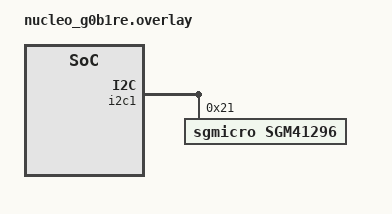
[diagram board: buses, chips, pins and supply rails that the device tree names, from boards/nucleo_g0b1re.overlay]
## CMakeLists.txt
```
#-------------------------------------------------------------------------------
# Zephyr Example Application
#
# Copyright (c) 2021 Nordic Semiconductor ASA
# SPDX-License-Identifier: Apache-2.0

cmake_minimum_required(VERSION 3.13.1)
find_package(Zephyr REQUIRED HINTS $ENV{ZEPHYR_BASE})

project(app1 LANGUAGES C)

target_sources(app PRIVATE src/main.c)
```

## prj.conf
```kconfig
CONFIG_SHELL=y
CONFIG_LOG=y
CONFIG_I2C=y
CONFIG_I2C_SHELL=y
```

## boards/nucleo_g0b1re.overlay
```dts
/* Change `ostentus-i2c` to match your device's bus (example: `&i2c2`) */

&i2c1 {
    /* Needed for I2C writes used by libostentus */

    sgm41296@21 {
        status = "okay";
        compatible = "sgmicro,sgm41296";
        reg = <0x21>;   
    };
};
```

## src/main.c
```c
    /*
 * Copyright (c) 2022-2023 Golioth, Inc.
 *
 * SPDX-License-Identifier: Apache-2.0
 */

#include <zephyr/logging/log.h>
LOG_MODULE_REGISTER(sgmicro_rd_template, LOG_LEVEL_DBG);

#include <app/drivers/libsgm41296.h>
#include <app/drivers/libsgm41296_regmap.h>

#include <zephyr/sys/printk.h>
#include <zephyr/kernel.h>

static const struct device *dev = DEVICE_DT_GET_ANY(sgmicro_sgm41296);


int main(void) {
	uint8_t val_addr = 0;
	uint8_t val_status = 0;

	if (!device_is_ready(dev)) {
		printk("Device %s is not ready\n", dev->name);
		return 0;
	}
	printk("device is %p, name is %s\n", dev, dev->name);
	
	k_msleep(30); /* sleep at least 20ms for detect ADDR state */
	sgm41296_set_config(dev, 0x81);

	sgm41296_read_addr(dev, &val_addr);
	printk("reg_addr is %u\n", val_addr);
	sgm41296_read_status(dev, &val_status);
	printk("reg_status is %u\n", val_status);
	//LOG_INF("reg_addr is: %s", val_addr);
	//sgm41296_set_config(dev, 0x80);
	while(1) {

		sgm41296_read_status(dev, &val_status);
		//printk("reg_status is %u", val_status);
		k_sleep(K_SECONDS(1));
	}
}
```
